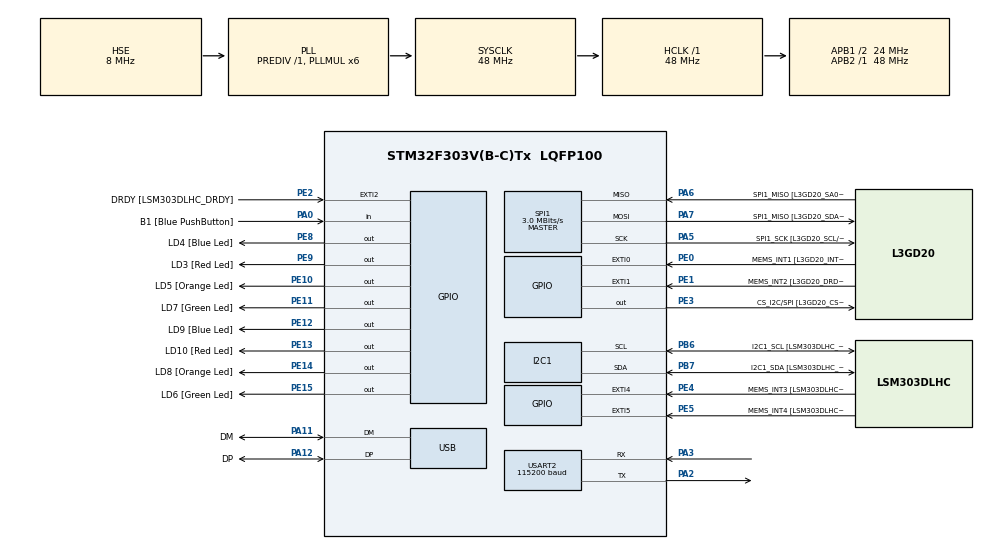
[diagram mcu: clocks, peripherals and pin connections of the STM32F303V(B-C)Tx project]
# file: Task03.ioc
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I2C1.Timing=0x2000090E
I2C1.Timing-I2C=0x2000090E
Mcu.Family=STM32F3
Mcu.Name=STM32F303V(B-C)Tx
Mcu.Package=LQFP100
NVIC.PriorityGroup=NVIC_PRIORITYGROUP_0
NVIC.SPI1_IRQn=true\:0\:0\:false\:false\:true\:true\:true\:true
PA0.GPIO_Label=B1 [Blue PushButton]
PA0.Signal=GPIO_Input
PA11.GPIO_Label=DM
PA11.Mode=Device
PA11.Signal=USB_DM
PA12.GPIO_Label=DP
PA12.Mode=Device
PA12.Signal=USB_DP
PA13.GPIO_Label=SWDIO
PA13.Mode=Serial_Wire
PA13.Signal=SYS_JTMS-SWDIO
PA14.GPIO_Label=SWCLK
PA14.Mode=Serial_Wire
PA14.Signal=SYS_JTCK-SWCLK
PA2.Mode=Asynchronous
PA2.Signal=USART2_TX
PA3.Mode=Asynchronous
PA3.Signal=USART2_RX
PA5.GPIO_Label=SPI1_SCK [L3GD20_SCL/SPC]
PA5.Mode=Full_Duplex_Master
PA5.Signal=SPI1_SCK
PA6.GPIO_Label=SPI1_MISO [L3GD20_SA0/SDO]
PA6.Mode=Full_Duplex_Master
PA6.Signal=SPI1_MISO
PA7.GPIO_Label=SPI1_MISO [L3GD20_SDA/SDI/SDO]
PA7.Mode=Full_Duplex_Master
PA7.Signal=SPI1_MOSI
PB3.GPIO_Label=SWO
PB3.Signal=SYS_JTDO-TRACESWO
PB6.GPIO_Label=I2C1_SCL [LSM303DLHC_SCL]
PB6.GPIO_Pu=GPIO_PULLUP
PB6.Mode=I2C
PB6.Signal=I2C1_SCL
PB7.GPIO_Label=I2C1_SDA [LSM303DLHC_SDA]
PB7.GPIO_Pu=GPIO_PULLUP
PB7.Mode=I2C
PB7.Signal=I2C1_SDA
PC14-OSC32_IN.GPIO_Label=OSC32_IN
PC14-OSC32_IN.Signal=RCC_OSC32_IN
PC15-OSC32_OUT.GPIO_Label=OSC32_OUT
PC15-OSC32_OUT.Signal=RCC_OSC32_OUT
PE0.GPIO_Label=MEMS_INT1 [L3GD20_INT1]
PE0.GPIO_ModeDefaultEXTI=GPIO_MODE_EVT_RISING
PE0.Signal=GPXTI0
PE1.GPIO_Label=MEMS_INT2 [L3GD20_DRDY/INT2]
PE1.GPIO_ModeDefaultEXTI=GPIO_MODE_EVT_RISING
PE1.Signal=GPXTI1
PE10.GPIO_Label=LD5 [Orange Led]
PE10.Signal=GPIO_Output
PE11.GPIO_Label=LD7 [Green Led]
PE11.Signal=GPIO_Output
PE12.GPIO_Label=LD9 [Blue Led]
PE12.Signal=GPIO_Output
PE13.GPIO_Label=LD10 [Red Led]
PE13.Signal=GPIO_Output
PE14.GPIO_Label=LD8 [Orange Led]
PE14.Signal=GPIO_Output
PE15.GPIO_Label=LD6 [Green Led]
PE15.Signal=GPIO_Output
PE2.GPIO_Label=DRDY [LSM303DLHC_DRDY]
PE2.GPIO_ModeDefaultEXTI=GPIO_MODE_EVT_RISING
PE2.Signal=GPXTI2
PE3.GPIO_Label=CS_I2C/SPI [L3GD20_CS_I2C/SPI]
PE3.Signal=GPIO_Output
PE4.GPIO_Label=MEMS_INT3 [LSM303DLHC_INT1]
PE4.GPIO_ModeDefaultEXTI=GPIO_MODE_EVT_RISING
PE4.Signal=GPXTI4
PE5.GPIO_Label=MEMS_INT4 [LSM303DLHC_INT2]
PE5.GPIO_ModeDefaultEXTI=GPIO_MODE_EVT_RISING
PE5.Signal=GPXTI5
PE8.GPIO_Label=LD4 [Blue Led]
PE8.Signal=GPIO_Output
PE9.GPIO_Label=LD3 [Red Led]
PE9.Signal=GPIO_Output
PF0-OSC_IN.GPIO_Label=OSC_IN
PF0-OSC_IN.Mode=HSE-External-Clock-Source
PF0-OSC_IN.Signal=RCC_OSC_IN
PF1-OSC_OUT.GPIO_Label=OSC_OUT
PF1-OSC_OUT.Signal=RCC_OSC_OUT
ProjectManager.HeapSize=0x200
ProjectManager.StackSize=0x400
ProjectManager.TargetToolchain=CMake
RCC.AHBFreq_Value=48000000
RCC.APB1CLKDivider=RCC_HCLK_DIV2
RCC.APB1Freq_Value=24000000
RCC.APB1TimFreq_Value=48000000
RCC.APB2Freq_Value=48000000
RCC.APB2TimFreq_Value=48000000
RCC.CortexFreq_Value=48000000
RCC.HCLKFreq_Value=48000000
RCC.HSE_VALUE=8000000
RCC.HSI_VALUE=8000000
RCC.LSE_VALUE=32768
RCC.PLLMUL=RCC_PLL_MUL6
RCC.SYSCLKFreq_VALUE=48000000
RCC.SYSCLKSourceVirtual=RCC_SYSCLKSOURCE_PLLCLK
RCC.USBFreq_Value=48000000
SPI1.BaudRatePrescaler=SPI_BAUDRATEPRESCALER_16
SPI1.BaudRatePrescaler-Full_Duplex_Master=SPI_BAUDRATEPRESCALER_2
SPI1.CLKPhase=SPI_PHASE_2EDGE
SPI1.CLKPolarity=SPI_POLARITY_HIGH
SPI1.CalculateBaudRate=3.0 MBits/s
SPI1.CalculateBaudRate-Full_Duplex_Master=24.0 MBits/s
SPI1.DataSize=SPI_DATASIZE_8BIT
SPI1.Direction=SPI_DIRECTION_2LINES
SPI1.Mode=SPI_MODE_MASTER
SPI1.Mode-Full_Duplex_Master=SPI_MODE_MASTER
SPI1.VirtualType=VM_MASTER
USART2.BaudRate=115200
USART2.VirtualMode-Asynchronous=VM_ASYNC
board=STM32F3DISCOVERY

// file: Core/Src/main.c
/* USER CODE BEGIN Header */
/**
  ******************************************************************************
  * @file           : main.c
  * @brief          : Main program body
  ******************************************************************************
  * @attention
  *
  * Copyright (c) 2026 STMicroelectronics.
  * All rights reserved.
  *
  * This software is licensed under terms that can be found in the LICENSE file
  * in the root directory of this software component.
  * If no LICENSE file comes with this software, it is provided AS-IS.
  *
  ******************************************************************************
  */
/* USER CODE END Header */
#include "main.h"
#include <stdio.h>
#include <string.h>

I2C_HandleTypeDef hi2c1;

SPI_HandleTypeDef hspi1;

UART_HandleTypeDef huart2;

PCD_HandleTypeDef hpcd_USB_FS;

void SystemClock_Config(void);
static void MX_GPIO_Init(void);
static void MX_I2C1_Init(void);
static void MX_SPI1_Init(void);
static void MX_USART2_UART_Init(void);
static void MX_USB_PCD_Init(void);

/* USER CODE BEGIN 0 */
#define OUT_X_L  0x28
#define OUT_X_H  0x29
#define OUT_Y_L  0x2A
#define OUT_Y_H  0x2B
#define OUT_Z_L  0x2C
#define OUT_Z_H  0x2D
# define CTRL_REG1 0x20
# define CTRL_REG1_VAL 0b10001111
void gyro_init ()
{
  uint8_t tx [2] = {CTRL_REG1 , CTRL_REG1_VAL};
  HAL_GPIO_WritePin (GPIOE , GPIO_PIN_3 , GPIO_PIN_RESET);
  HAL_SPI_Transmit (& hspi1 , tx , 2, HAL_MAX_DELAY);
  HAL_GPIO_WritePin (GPIOE , GPIO_PIN_3 , GPIO_PIN_SET  );
}
// ===== Read Single Register =====
uint8_t gyro_read_reg(uint8_t reg)
{
    uint8_t tx = reg | 0x80;  // MSB=1 for read
    uint8_t rx = 0;

    HAL_GPIO_WritePin(GPIOE, GPIO_PIN_3, GPIO_PIN_RESET);  // CS LOW
    HAL_SPI_Transmit(&hspi1, &tx, 1, HAL_MAX_DELAY);       // send address
    HAL_SPI_Receive(&hspi1, &rx, 1, HAL_MAX_DELAY);        // receive byte
    HAL_GPIO_WritePin(GPIOE, GPIO_PIN_3, GPIO_PIN_SET);    // CS HIGH

    return rx;
}

// ===== Read X, Y, Z =====
void gyro_read_xyz(int16_t *x, int16_t *y, int16_t *z)
{
    uint8_t tx = OUT_X_L | 0x80 | 0x40;  // read bit + auto-increment bit
    uint8_t rx[6] = {0};

    HAL_GPIO_WritePin(GPIOE, GPIO_PIN_3, GPIO_PIN_RESET);  // CS LOW once
    HAL_SPI_Transmit(&hspi1, &tx, 1, HAL_MAX_DELAY);       // send start register
    HAL_SPI_Receive(&hspi1, rx, 6, HAL_MAX_DELAY);         // read all 6 bytes
    HAL_GPIO_WritePin(GPIOE, GPIO_PIN_3, GPIO_PIN_SET);    // CS HIGH once

    *x = (int16_t)((rx[1] << 8) | rx[0]);  // XH | XL
    *y = (int16_t)((rx[3] << 8) | rx[2]);  // YH | YL
    *z = (int16_t)((rx[5] << 8) | rx[4]);  // ZH | ZL
}
/* USER CODE END 0 */

int main(void)
{

  /* MCU Configuration--------------------------------------------------------*/

  /* Reset of all peripherals, Initializes the Flash interface and the Systick. */  HAL_Init();

  /* Configure the system clock */
  SystemClock_Config();

  /* Initialize all configured peripherals */
  MX_GPIO_Init();
  MX_I2C1_Init();
  MX_SPI1_Init();
  MX_USART2_UART_Init();
  MX_USB_PCD_Init();
  /* USER CODE BEGIN 2 */
  gyro_init();  // call once before while(1)

  int16_t x, y, z;
  uint8_t temp_raw;
  char buf[64];

  while (1)
  {
      temp_raw = gyro_read_reg(0x26);   // read temperature register
      gyro_read_xyz(&x, &y, &z);        // read X, Y, Z
      float x_dps = x * 0.00875f;
      float y_dps = y * 0.00875f;
      float z_dps = z * 0.00875f;
      sprintf(buf, "%d,%.2f,%.2f,%.2f\r\n", temp_raw, x_dps, y_dps, z_dps);
      HAL_UART_Transmit(&huart2, (uint8_t*)buf, strlen(buf), HAL_MAX_DELAY);

      HAL_Delay(10);
  }
  /* USER CODE END 3 */
}

void SystemClock_Config(void)
{
  RCC_OscInitTypeDef RCC_OscInitStruct = {0};
  RCC_ClkInitTypeDef RCC_ClkInitStruct = {0};
  RCC_PeriphCLKInitTypeDef PeriphClkInit = {0};

  /** Initializes the RCC Oscillators according to the specified parameters
  * in the RCC_OscInitTypeDef structure.
  */
  RCC_OscInitStruct.OscillatorType = RCC_OSCILLATORTYPE_HSI|RCC_OSCILLATORTYPE_HSE;
  RCC_OscInitStruct.HSEState = RCC_HSE_BYPASS;
  RCC_OscInitStruct.HSEPredivValue = RCC_HSE_PREDIV_DIV1;
  RCC_OscInitStruct.HSIState = RCC_HSI_ON;
  RCC_OscInitStruct.HSICalibrationValue = RCC_HSICALIBRATION_DEFAULT;
  RCC_OscInitStruct.PLL.PLLState = RCC_PLL_ON;
  RCC_OscInitStruct.PLL.PLLSource = RCC_PLLSOURCE_HSE;
  RCC_OscInitStruct.PLL.PLLMUL = RCC_PLL_MUL6;
  if (HAL_RCC_OscConfig(&RCC_OscInitStruct) != HAL_OK)
  {
    Error_Handler();
  }

  /** Initializes the CPU, AHB and APB buses clocks
  */
  RCC_ClkInitStruct.ClockType = RCC_CLOCKTYPE_HCLK|RCC_CLOCKTYPE_SYSCLK
                              |RCC_CLOCKTYPE_PCLK1|RCC_CLOCKTYPE_PCLK2;
  RCC_ClkInitStruct.SYSCLKSource = RCC_SYSCLKSOURCE_PLLCLK;
  RCC_ClkInitStruct.AHBCLKDivider = RCC_SYSCLK_DIV1;
  RCC_ClkInitStruct.APB1CLKDivider = RCC_HCLK_DIV2;
  RCC_ClkInitStruct.APB2CLKDivider = RCC_HCLK_DIV1;

  if (HAL_RCC_ClockConfig(&RCC_ClkInitStruct, FLASH_LATENCY_1) != HAL_OK)
  {
    Error_Handler();
  }
  PeriphClkInit.PeriphClockSelection = RCC_PERIPHCLK_USB|RCC_PERIPHCLK_USART2
                              |RCC_PERIPHCLK_I2C1;
  PeriphClkInit.Usart2ClockSelection = RCC_USART2CLKSOURCE_PCLK1;
  PeriphClkInit.I2c1ClockSelection = RCC_I2C1CLKSOURCE_HSI;
  PeriphClkInit.USBClockSelection = RCC_USBCLKSOURCE_PLL;
  if (HAL_RCCEx_PeriphCLKConfig(&PeriphClkInit) != HAL_OK)
  {
    Error_Handler();
  }
}

static void MX_I2C1_Init(void)
{

  hi2c1.Instance = I2C1;
  hi2c1.Init.Timing = 0x2000090E;
  hi2c1.Init.OwnAddress1 = 0;
  hi2c1.Init.AddressingMode = I2C_ADDRESSINGMODE_7BIT;
  hi2c1.Init.DualAddressMode = I2C_DUALADDRESS_DISABLE;
  hi2c1.Init.OwnAddress2 = 0;
  hi2c1.Init.OwnAddress2Masks = I2C_OA2_NOMASK;
  hi2c1.Init.GeneralCallMode = I2C_GENERALCALL_DISABLE;
  hi2c1.Init.NoStretchMode = I2C_NOSTRETCH_DISABLE;
  if (HAL_I2C_Init(&hi2c1) != HAL_OK)
  {
    Error_Handler();
  }

  /** Configure Analogue filter
  */
  if (HAL_I2CEx_ConfigAnalogFilter(&hi2c1, I2C_ANALOGFILTER_ENABLE) != HAL_OK)
  {
    Error_Handler();
  }

  /** Configure Digital filter
  */
  if (HAL_I2CEx_ConfigDigitalFilter(&hi2c1, 0) != HAL_OK)
  {
    Error_Handler();
  }

}

static void MX_SPI1_Init(void)
{

  /* SPI1 parameter configuration*/
  hspi1.Instance = SPI1;
  hspi1.Init.Mode = SPI_MODE_MASTER;
  hspi1.Init.Direction = SPI_DIRECTION_2LINES;
  hspi1.Init.DataSize = SPI_DATASIZE_8BIT;
  hspi1.Init.CLKPolarity = SPI_POLARITY_HIGH;
  hspi1.Init.CLKPhase = SPI_PHASE_2EDGE;
  hspi1.Init.NSS = SPI_NSS_SOFT;
  hspi1.Init.BaudRatePrescaler = SPI_BAUDRATEPRESCALER_16;
  hspi1.Init.FirstBit = SPI_FIRSTBIT_MSB;
  hspi1.Init.TIMode = SPI_TIMODE_DISABLE;
  hspi1.Init.CRCCalculation = SPI_CRCCALCULATION_DISABLE;
  hspi1.Init.CRCPolynomial = 7;
  hspi1.Init.CRCLength = SPI_CRC_LENGTH_DATASIZE;
  hspi1.Init.NSSPMode = SPI_NSS_PULSE_DISABLE;
  if (HAL_SPI_Init(&hspi1) != HAL_OK)
  {
    Error_Handler();
  }

}

static void MX_USART2_UART_Init(void)
{

  huart2.Instance = USART2;
  huart2.Init.BaudRate = 115200;
  huart2.Init.WordLength = UART_WORDLENGTH_8B;
  huart2.Init.StopBits = UART_STOPBITS_1;
  huart2.Init.Parity = UART_PARITY_NONE;
  huart2.Init.Mode = UART_MODE_TX_RX;
  huart2.Init.HwFlowCtl = UART_HWCONTROL_NONE;
  huart2.Init.OverSampling = UART_OVERSAMPLING_16;
  huart2.Init.OneBitSampling = UART_ONE_BIT_SAMPLE_DISABLE;
  huart2.AdvancedInit.AdvFeatureInit = UART_ADVFEATURE_NO_INIT;
  if (HAL_UART_Init(&huart2) != HAL_OK)
  {
    Error_Handler();
  }

}

static void MX_USB_PCD_Init(void)
{

  hpcd_USB_FS.Instance = USB;
  hpcd_USB_FS.Init.dev_endpoints = 8;
  hpcd_USB_FS.Init.speed = PCD_SPEED_FULL;
  hpcd_USB_FS.Init.phy_itface = PCD_PHY_EMBEDDED;
  hpcd_USB_FS.Init.low_power_enable = DISABLE;
  hpcd_USB_FS.Init.battery_charging_enable = DISABLE;
  if (HAL_PCD_Init(&hpcd_USB_FS) != HAL_OK)
  {
    Error_Handler();
  }

}

static void MX_GPIO_Init(void)
{
  GPIO_InitTypeDef GPIO_InitStruct = {0};

  /* GPIO Ports Clock Enable */
  __HAL_RCC_GPIOE_CLK_ENABLE();
  __HAL_RCC_GPIOC_CLK_ENABLE();
  __HAL_RCC_GPIOF_CLK_ENABLE();
  __HAL_RCC_GPIOA_CLK_ENABLE();
  __HAL_RCC_GPIOB_CLK_ENABLE();

  /*Configure GPIO pin Output Level */
  HAL_GPIO_WritePin(GPIOE, CS_I2C_SPI_Pin|LD4_Pin|LD3_Pin|LD5_Pin
                          |LD7_Pin|LD9_Pin|LD10_Pin|LD8_Pin
                          |LD6_Pin, GPIO_PIN_RESET);

  /*Configure GPIO pins : DRDY_Pin MEMS_INT3_Pin MEMS_INT4_Pin MEMS_INT1_Pin
                           MEMS_INT2_Pin */
  GPIO_InitStruct.Pin = DRDY_Pin|MEMS_INT3_Pin|MEMS_INT4_Pin|MEMS_INT1_Pin
                          |MEMS_INT2_Pin;
  GPIO_InitStruct.Mode = GPIO_MODE_EVT_RISING;
  GPIO_InitStruct.Pull = GPIO_NOPULL;
  HAL_GPIO_Init(GPIOE, &GPIO_InitStruct);

  /*Configure GPIO pins : CS_I2C_SPI_Pin LD4_Pin LD3_Pin LD5_Pin
                           LD7_Pin LD9_Pin LD10_Pin LD8_Pin
                           LD6_Pin */
  GPIO_InitStruct.Pin = CS_I2C_SPI_Pin|LD4_Pin|LD3_Pin|LD5_Pin
                          |LD7_Pin|LD9_Pin|LD10_Pin|LD8_Pin
                          |LD6_Pin;
  GPIO_InitStruct.Mode = GPIO_MODE_OUTPUT_PP;
  GPIO_InitStruct.Pull = GPIO_NOPULL;
  GPIO_InitStruct.Speed = GPIO_SPEED_FREQ_LOW;
  HAL_GPIO_Init(GPIOE, &GPIO_InitStruct);

  /*Configure GPIO pin : B1_Pin */
  GPIO_InitStruct.Pin = B1_Pin;
  GPIO_InitStruct.Mode = GPIO_MODE_INPUT;
  GPIO_InitStruct.Pull = GPIO_NOPULL;
  HAL_GPIO_Init(B1_GPIO_Port, &GPIO_InitStruct);

}

void Error_Handler(void)
{
  __disable_irq();
  while (1)
  {
  }
}
